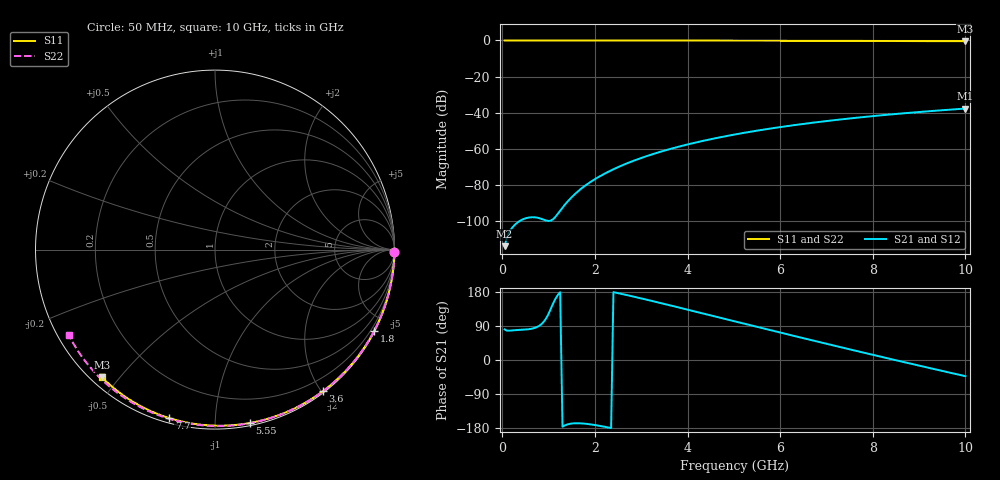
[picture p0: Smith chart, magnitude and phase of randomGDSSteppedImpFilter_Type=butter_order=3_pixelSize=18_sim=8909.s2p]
! freq	dB(S11)	phase(S11)	dB(S12)	phase(S12)
!  dB(S21)	phase(S21)	dB(S22)	phase(S22)
!S-par simulation data
#  GHz  S  DB  R 50
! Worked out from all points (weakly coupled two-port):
!   200 points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, 50 MHz to 10 GHz, reference 50 ohm
!   highest |S21| = -37.78 dB at 10 GHz (marker M1); lowest = -114.1 dB at 50 MHz (marker M2)
!   lowest |S11| = -0.4 dB at 10 GHz (marker M3), VSWR 39.13, Z = 1.54 - j22.5 ohm
!   |S11| at or under -10 dB: nowhere
!   |S22| runs from -0.5 to 0.0 dB; largest |S21 - S12| = 0
!   S11 on the Smith chart (normalised r, x): 50 MHz: open; 1.8 GHz: 0.04, -4.17; 3.6 GHz: 0.02, -2.02; 5.55 GHz: 0.02, -1.22; 7.7 GHz: 0.02, -0.77; 10 GHz: 0.03, -0.45
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0.05  -0.00 -0.8  -114.12 80.7  -114.12 80.7  -0.00 -0.9
0.45  -0.01 -6.8  -99.16 79.9  -99.16 79.9  -0.01 -7.8
0.9  -0.02 -13.6  -99.47 101.7  -99.47 101.7  -0.02 -15.5
1.3  -0.02 -19.6  -92.76 -176.1  -92.76 -176.1  -0.03 -22.3
1.75  -0.03 -26.2  -81.30 -167.7  -81.30 -167.7  -0.04 -29.9
1.8  -0.03 -27.0  -80.35 -168.3  -80.35 -168.3  -0.04 -30.7
1.85  -0.04 -27.7  -79.44 -169.0  -79.44 -169.0  -0.04 -31.6
2  -0.04 -29.9  -76.94 -171.6  -76.94 -171.6  -0.04 -34.1
2.15  -0.04 -32.1  -74.71 -174.8  -74.71 -174.8  -0.05 -36.6
2.5  -0.05 -37.2  -70.27 176.5  -70.27 176.5  -0.05 -42.3
2.9  -0.06 -42.9  -66.11 165.4  -66.11 165.4  -0.06 -48.8
3.4  -0.07 -49.9  -61.86 150.8  -61.86 150.8  -0.08 -56.8
3.6  -0.07 -52.7  -60.37 144.9  -60.37 144.9  -0.08 -59.9
4.3  -0.09 -62.3  -55.90 123.8  -55.90 123.8  -0.10 -70.7
5.05  -0.11 -72.3  -52.02 101.1  -52.02 101.1  -0.13 -81.9
5.55  -0.13 -78.7  -49.82 86.0  -49.82 86.0  -0.15 -89.2
6.1  -0.15 -85.7  -47.69 69.5  -47.69 69.5  -0.17 -97.0
6.7  -0.18 -93.1  -45.64 51.6  -45.64 51.6  -0.21 -105.4
7.7  -0.24 -105.1  -42.73 22.3  -42.73 22.3  -0.27 -119.0
8.35  -0.29 -112.7  -41.12 3.6  -41.12 3.6  -0.33 -127.7
9.2  -0.36 -122.5  -39.28 -20.5  -39.28 -20.5  -0.41 -139.0
10  -0.44 -131.5  -37.78 -42.7  -37.78 -42.7  -0.51 -149.7
